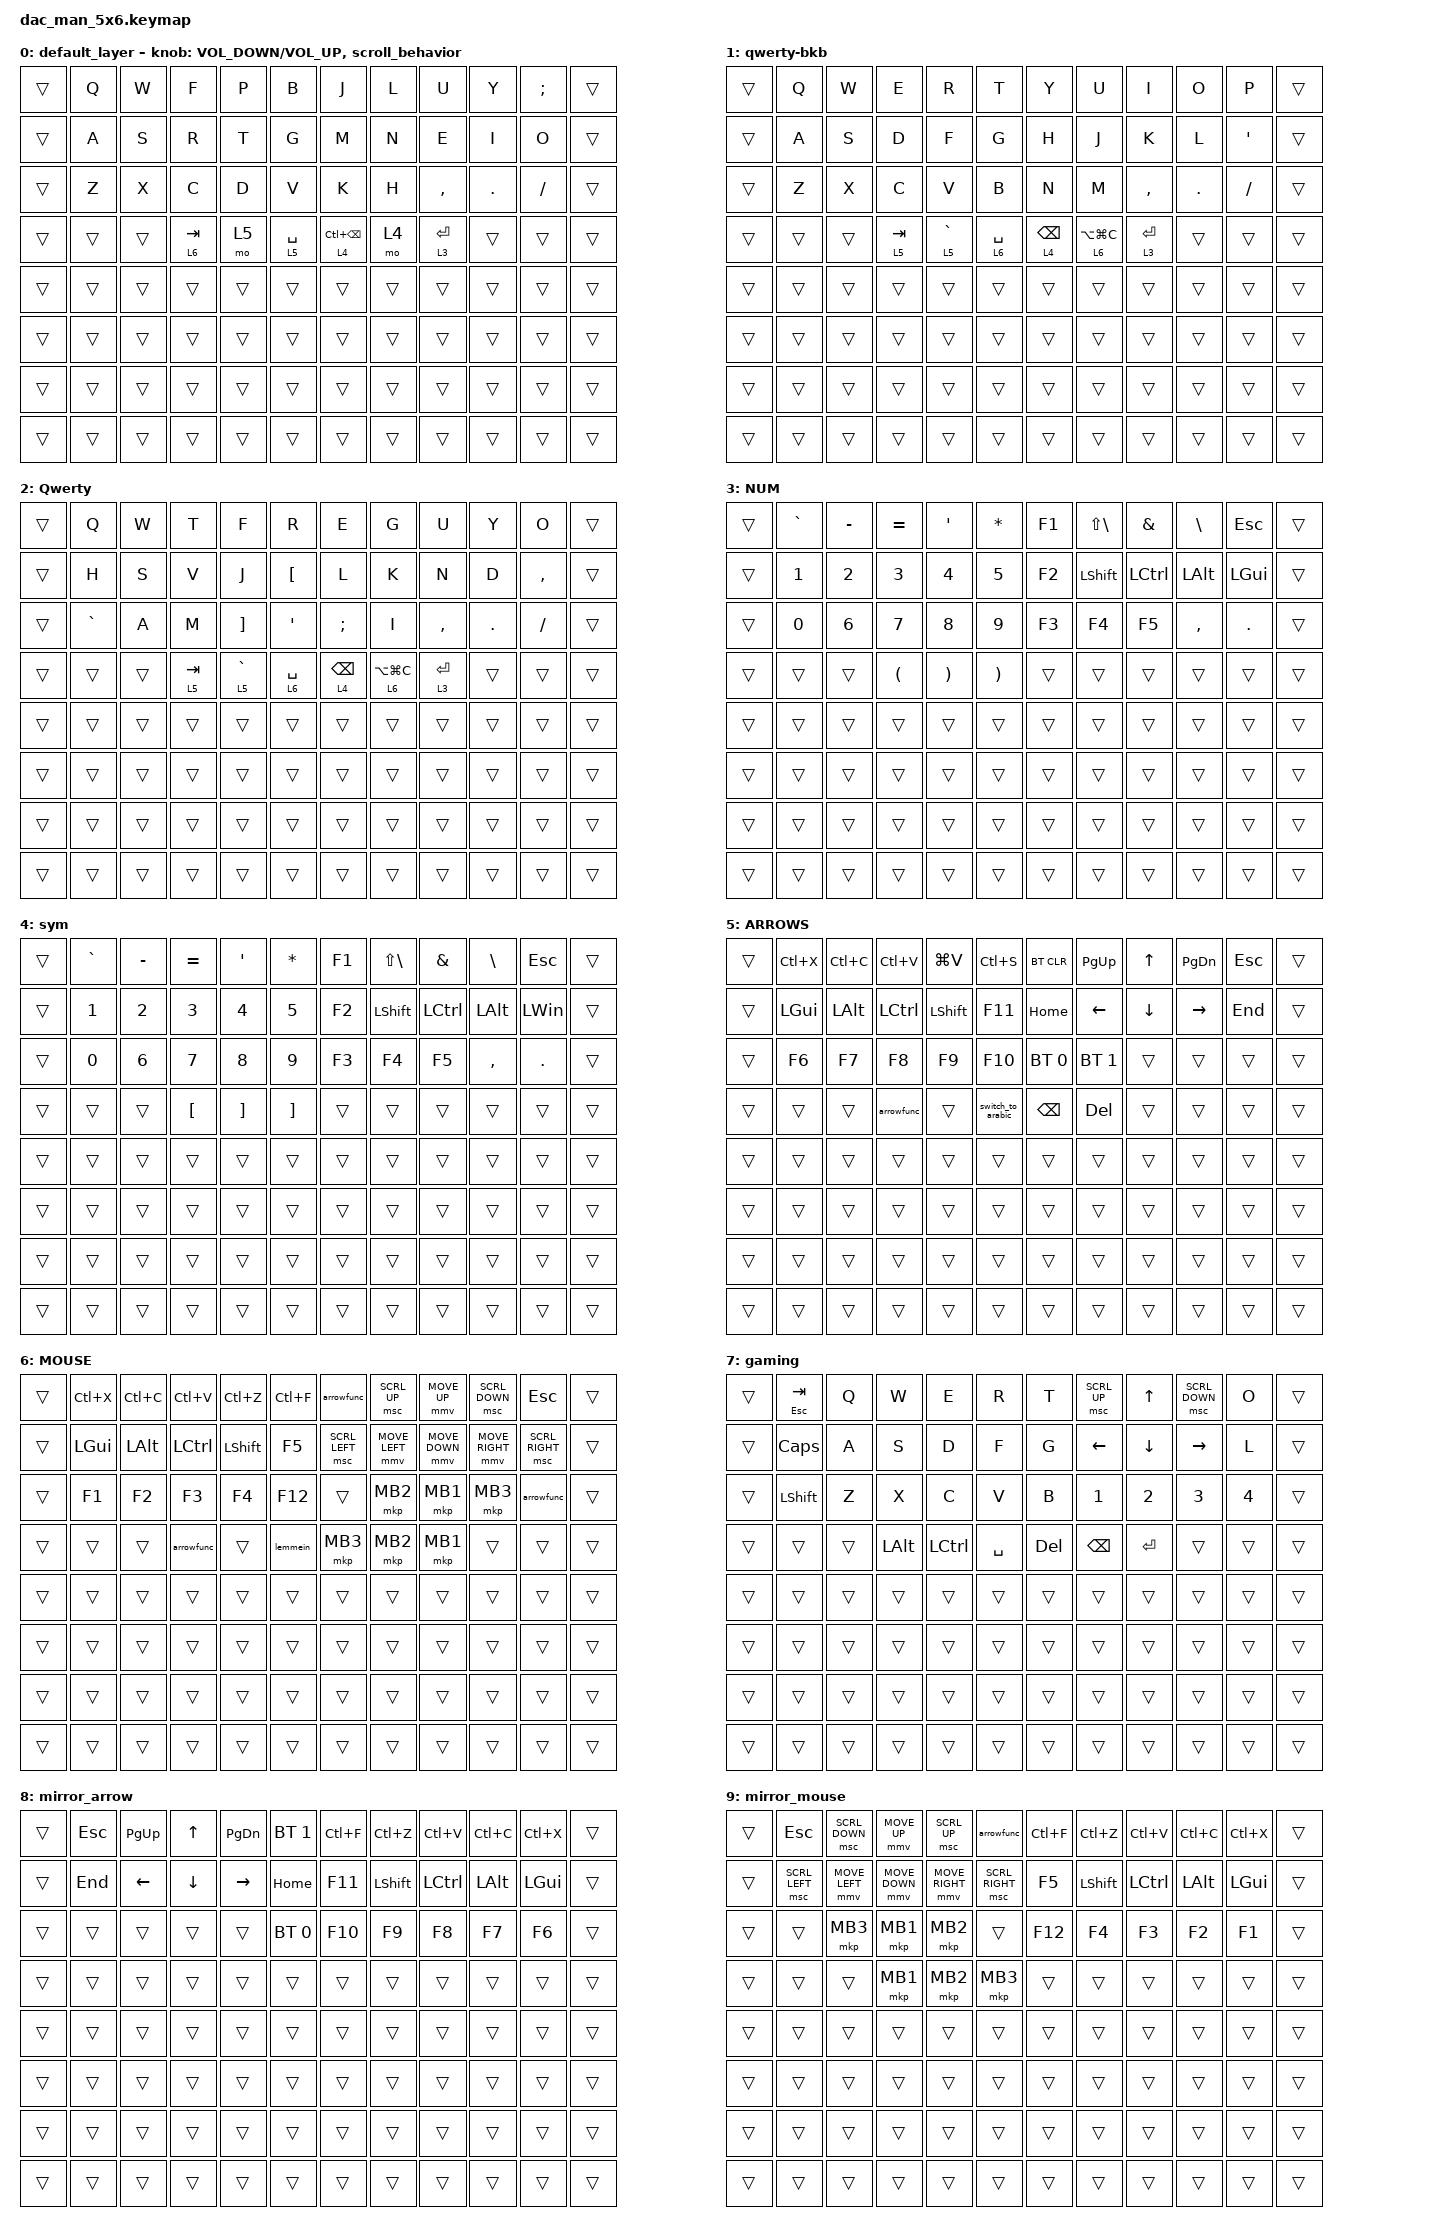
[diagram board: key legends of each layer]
#include <behaviors.dtsi>
#include <dt-bindings/zmk/bt.h>
#include <dt-bindings/zmk/keys.h>
#include <dt-bindings/zmk/pointing.h>

/ {
    behaviors {
        scroll_behavior: scroll_behavior {
            compatible = "zmk,behavior-sensor-rotate";
            label = "SCROLL_BEHAVIOR";
            #sensor-binding-cells = <0>;
            bindings = <&msc SCRL_DOWN>, <&msc SCRL_UP>;

            tap-ms = <1>;
        };
    };
    
    combos {
        compatible = "zmk,combos";

        gaming {
            bindings = <&tog 7>;
            key-positions = <33 32>;
        };

        hamza {
            bindings = <&kp X>;
            key-positions = <12 17>;
        };

        ya2 {
            bindings = <&kp Z>;
            key-positions = <11 18>;
        };

        wa2 {
            bindings = <&kp C>;
            key-positions = <10 19>;
        };

        rhotmouse {
            bindings = <&mo 6>;
            key-positions = <34 33>;
        };

        lhotarrow {
            bindings = <&mo 8>;
            key-positions = <32 31>;
        };

        lshift {
            bindings = <&kp LEFT_SHIFT>;
            key-positions = <35 16>;
        };

        rshift {
            bindings = <&kp LEFT_SHIFT>;
            key-positions = <13 30>;
        };

        lctrl {
            bindings = <&kp LCTRL>;
            key-positions = <35 17>;
        };

        rctrl {
            bindings = <&kp LCTRL>;
            key-positions = <12 30>;
        };

        lalt {
            bindings = <&kp LEFT_ALT>;
            key-positions = <35 18>;
        };

        ralt {
            bindings = <&kp LEFT_ALT>;
            key-positions = <11 30>;
        };

        lgui {
            bindings = <&kp LEFT_GUI>;
            key-positions = <35 19>;
        };

        rgui {
            bindings = <&kp LEFT_GUI>;
            key-positions = <10 30>;
        };

        quickD {
            bindings = <&kp D>;
            key-positions = <20 29>;
        };

        quickV {
            bindings = <&kp V>;
            key-positions = <21 28>;
        };
    };

    macros {
        arrowfunc: new_macro {
            compatible = "zmk,behavior-macro";
            #binding-cells = <0>;
            bindings = <&kp LPAR &kp RPAR &kp EQUAL &kp GT &kp LEFT_BRACE>;
            label = "NEW_MACRO";
        };

        lemmein: lemmein {
            compatible = "zmk,behavior-macro";
            #binding-cells = <0>;
            bindings = <&kp L &kp D &kp HASH &kp H &kp E &kp L &kp L &kp O &kp W &kp O &kp R &kp L &kp D &kp AT_SIGN &kp N2 &kp N9 &kp ENTER>;
            label = "LEMMEIN";
        };

        switch_to_arabic: switch_to_arabic {
            compatible = "zmk,behavior-macro";
            #binding-cells = <0>;
            bindings = <&kp LG(SPACE) &tog 2>;
            label = "SWITCH_TO_ARABIC";
        };

        switch_to_english: switch_to_english {
            compatible = "zmk,behavior-macro";
            #binding-cells = <0>;
            bindings = <&kp LG(SPACE) &tog 0>;
            label = "SWITCH_TO_ENGLISH";
        };
    };

    keymap {
        compatible = "zmk,keymap";
        label = "corne-unified";


  

        default_layer {
            bindings = <
                &trans &kp Q  &kp W  &kp F      &kp P      &kp B        &kp J                &kp L        &kp U        &kp Y       &kp SEMI   &trans
                &trans &kp A  &kp S  &kp R      &kp T      &kp G        &kp M                &kp N        &kp E        &kp I       &kp O      &trans
                &trans &kp Z  &kp X  &kp C      &kp D      &kp V        &kp K                &kp H        &kp COMMA    &kp PERIOD  &kp SLASH  &trans
                &trans &trans &trans &lt 6 TAB  &mo 5      &lt 5 SPACE  &lt 4 LC(BACKSPACE)  &mo 4        &lt 3 ENTER  &trans      &trans     &trans
                &trans &trans &trans &trans     &trans     &trans       &trans               &trans       &trans       &trans      &trans     &trans
                &trans &trans &trans &trans     &trans     &trans       &trans               &trans       &trans       &trans      &trans     &trans
                &trans &trans &trans &trans     &trans     &trans       &trans               &trans       &trans       &trans      &trans     &trans
                &trans &trans &trans &trans     &trans     &trans       &trans               &trans       &trans       &trans      &trans     &trans
            >;
            sensor-bindings =
                <&inc_dec_kp C_VOLUME_DOWN C_VOLUME_UP>,
                <&scroll_behavior>;
        };

        qwerty-bkb {
            bindings = <
                &trans &kp Q  &kp W  &kp E      &kp R        &kp T                     &kp Y            &kp U            &kp I        &kp O    &kp P    &trans
                &trans &kp A  &kp S  &kp D      &kp F        &kp G                     &kp H            &kp J            &kp K        &kp L    &kp SQT  &trans
                &trans &kp Z  &kp X  &kp C      &kp V        &kp B                     &kp N            &kp M            &kp COMMA    &kp DOT  &kp FSLH &trans
                &trans &trans &trans &lt 5 TAB  &lt 5 GRAVE  &lt 6 SPACE               &lt 4 BACKSPACE  &lt 6 LA(LG(C))  &lt 3 ENTER  &trans   &trans   &trans
                &trans &trans &trans &trans     &trans       &trans                    &trans           &trans           &trans       &trans   &trans   &trans
                &trans &trans &trans &trans     &trans       &trans                    &trans           &trans           &trans       &trans   &trans   &trans
                &trans &trans &trans &trans     &trans       &trans                    &trans           &trans           &trans       &trans   &trans   &trans
                &trans &trans &trans &trans     &trans       &trans                    &trans           &trans           &trans       &trans   &trans   &trans
            >;
        };

        Qwerty {
            bindings = <
                &trans &kp Q      &kp W  &kp T       &kp F              &kp R                 &kp E            &kp G            &kp U        &kp Y       &kp O     &trans 
                &trans &kp H      &kp S  &kp V       &kp J              &kp LEFT_BRACKET      &kp L            &kp K            &kp N        &kp D       &kp COMMA &trans 
                &trans &kp GRAVE  &kp A  &kp M       &kp RIGHT_BRACKET  &kp SQT               &kp SEMI         &kp I            &kp COMMA    &kp PERIOD  &kp SLASH &trans 
                &trans &trans     &trans &lt 5 TAB   &lt 5 GRAVE        &lt 6 SPACE           &lt 4 BACKSPACE  &lt 6 LA(LG(C))  &lt 3 ENTER  &trans      &trans    &trans
                &trans &trans     &trans &trans      &trans             &trans                &trans           &trans           &trans       &trans      &trans    &trans
                &trans &trans     &trans &trans      &trans             &trans                &trans           &trans           &trans       &trans      &trans    &trans
                &trans &trans     &trans &trans      &trans             &trans                &trans           &trans           &trans       &trans      &trans    &trans
                &trans &trans     &trans &trans      &trans             &trans                &trans           &trans           &trans       &trans      &trans    &trans
            >;
        };

        NUM {
            bindings = <
                &trans &kp GRAVE  &kp MINUS  &kp EQUAL             &kp APOS               &kp ASTRK                    &kp F1  &kp LS(BACKSLASH)  &kp AMPERSAND  &kp BSLH      &kp ESC      &trans
                &trans &kp N1     &kp N2     &kp N3                &kp N4                 &kp N5                       &kp F2  &kp LEFT_SHIFT     &kp LCTRL      &kp LEFT_ALT  &kp LEFT_GUI &trans
                &trans &kp N0     &kp N6     &kp N7                &kp N8                 &kp N9                       &kp F3  &kp F4             &kp F5         &kp COMMA     &kp PERIOD   &trans
                &trans &trans     &trans     &kp LEFT_PARENTHESIS  &kp RIGHT_PARENTHESIS  &kp RIGHT_PARENTHESIS        &trans  &trans             &trans         &trans        &trans       &trans
                &trans &trans     &trans     &trans               &trans                &trans                         &trans  &trans             &trans         &trans        &trans       &trans
                &trans &trans     &trans     &trans               &trans                &trans                         &trans  &trans             &trans         &trans        &trans       &trans
                &trans &trans     &trans     &trans               &trans                &trans                         &trans  &trans             &trans         &trans        &trans       &trans
                &trans &trans     &trans     &trans               &trans                &trans                         &trans  &trans             &trans         &trans        &trans       &trans
            >;
        };

        symbol {
            label = "sym";
            bindings = <
                &trans &kp GRAVE  &kp MINUS  &kp EQUAL         &kp APOS           &kp ASTRK                &kp F1  &kp LS(BACKSLASH)  &kp AMPERSAND  &kp BSLH      &kp ESC       &trans
                &trans &kp N1     &kp N2     &kp N3            &kp N4             &kp N5                   &kp F2  &kp LEFT_SHIFT     &kp LCTRL      &kp LEFT_ALT  &kp LEFT_WIN  &trans
                &trans &kp N0     &kp N6     &kp N7            &kp N8             &kp N9                   &kp F3  &kp F4             &kp F5         &kp COMMA     &kp DOT       &trans
                &trans &trans     &trans     &kp LEFT_BRACKET  &kp RIGHT_BRACKET  &kp RIGHT_BRACKET        &trans  &trans             &trans         &trans        &trans        &trans
                &trans &trans     &trans     &trans            &trans             &trans                   &trans  &trans             &trans         &trans        &trans        &trans
                &trans &trans     &trans     &trans            &trans             &trans                   &trans  &trans             &trans         &trans        &trans        &trans
                &trans &trans     &trans     &trans            &trans             &trans                   &trans  &trans             &trans         &trans        &trans        &trans
                &trans &trans     &trans     &trans            &trans             &trans                   &trans  &trans             &trans         &trans        &trans        &trans
            >;
        };

        ARROWS {
            bindings = <
                &trans  &kp LC(X)     &kp LC(C)     &kp LC(V)    &kp LG(V)       &kp LC(S)                     &bt BT_CLR     &kp PG_UP     &kp UP    &kp PG_DN  &kp ESC  &trans
                &trans  &kp LEFT_GUI  &kp LEFT_ALT  &kp LCTRL    &kp LEFT_SHIFT  &kp F11                       &kp HOME       &kp LEFT      &kp DOWN  &kp RIGHT  &kp END  &trans
                &trans  &kp F6        &kp F7        &kp F8       &kp F9          &kp F10                       &bt BT_SEL 0   &bt BT_SEL 1  &trans    &trans     &trans   &trans
                &trans  &trans        &trans        &arrowfunc   &trans          &switch_to_arabic             &kp BACKSPACE  &kp DELETE    &trans    &trans     &trans   &trans
                &trans  &trans        &trans        &trans       &trans          &trans                        &trans         &trans        &trans    &trans     &trans   &trans
                &trans  &trans        &trans        &trans       &trans          &trans                        &trans         &trans        &trans    &trans     &trans   &trans
                &trans  &trans        &trans        &trans       &trans          &trans                        &trans         &trans        &trans    &trans     &trans   &trans
                &trans  &trans        &trans        &trans       &trans          &trans                        &trans         &trans        &trans    &trans     &trans   &trans
            >;
        };

        MOUSE {
            bindings = <
                &trans &kp LC(X)     &kp LC(C)     &kp LC(V)   &kp LC(Z)       &kp LC(F)            &arrowfunc      &msc SCRL_UP    &mmv MOVE_UP    &msc SCRL_DOWN   &kp ESCAPE      &trans
                &trans &kp LEFT_GUI  &kp LEFT_ALT  &kp LCTRL   &kp LEFT_SHIFT  &kp F5               &msc SCRL_LEFT  &mmv MOVE_LEFT  &mmv MOVE_DOWN  &mmv MOVE_RIGHT  &msc SCRL_RIGHT &trans
                &trans &kp F1        &kp F2        &kp F3      &kp F4          &kp F12              &trans          &mkp MB2        &mkp MB1        &mkp MB3         &arrowfunc      &trans
                &trans &trans        &trans        &arrowfunc  &trans          &lemmein             &mkp MB3        &mkp MB2        &mkp MB1        &trans           &trans          &trans
                &trans &trans        &trans        &trans      &trans          &trans               &trans          &trans          &trans          &trans           &trans          &trans
                &trans &trans        &trans        &trans      &trans          &trans               &trans          &trans          &trans          &trans           &trans          &trans
                &trans &trans        &trans        &trans      &trans          &trans               &trans          &trans          &trans          &trans           &trans          &trans
                &trans &trans        &trans        &trans      &trans          &trans               &trans          &trans          &trans          &trans           &trans          &trans
            >;
        };

        gaming {
            bindings = <
                &trans  &mt ESC TAB     &kp Q  &kp W         &kp E      &kp R                 &kp T    &msc SCRL_UP   &kp UP     &msc SCRL_DOWN  &kp O   &trans
                &trans  &kp CAPS        &kp A  &kp S         &kp D      &kp F                 &kp G    &kp LEFT       &kp DOWN   &kp RIGHT       &kp L   &trans
                &trans  &kp LEFT_SHIFT  &kp Z  &kp X         &kp C      &kp V                 &kp B    &kp N1         &kp N2     &kp N3          &kp N4  &trans
                &trans  &trans          &trans &kp LEFT_ALT  &kp LCTRL  &kp SPACE             &kp DEL  &kp BACKSPACE  &kp ENTER  &trans          &trans  &trans
                &trans  &trans          &trans &trans        &trans     &trans                &trans   &trans         &trans     &trans          &trans  &trans
                &trans  &trans          &trans &trans        &trans     &trans                &trans   &trans         &trans     &trans          &trans  &trans
                &trans  &trans          &trans &trans        &trans     &trans                &trans   &trans         &trans     &trans          &trans  &trans
                &trans  &trans          &trans &trans        &trans     &trans                &trans   &trans         &trans     &trans          &trans  &trans
            >;
        };

        mirror_arrow {
            bindings = <
                &trans  &kp ESCAPE  &kp PG_UP  &kp UP    &kp PG_DN  &bt BT_SEL 1          &kp LC(F)  &kp LC(Z)       &kp LC(V)  &kp LC(C)     &kp LC(X)     &trans
                &trans  &kp END     &kp LEFT   &kp DOWN  &kp RIGHT  &kp HOME              &kp F11    &kp LEFT_SHIFT  &kp LCTRL  &kp LEFT_ALT  &kp LEFT_GUI  &trans
                &trans  &trans      &trans     &trans    &trans     &bt BT_SEL 0          &kp F10    &kp F9          &kp F8     &kp F7        &kp F6        &trans
                &trans  &trans      &trans     &trans    &trans     &trans                &trans     &trans          &trans     &trans        &trans        &trans
                &trans  &trans      &trans     &trans    &trans     &trans                &trans     &trans          &trans     &trans        &trans        &trans
                &trans  &trans      &trans     &trans    &trans     &trans                &trans     &trans          &trans     &trans        &trans        &trans
                &trans  &trans      &trans     &trans    &trans     &trans                &trans     &trans          &trans     &trans        &trans        &trans
                &trans  &trans      &trans     &trans    &trans     &trans                &trans     &trans          &trans     &trans        &trans        &trans
            >;
        };

        mirror_mouse {
            bindings = <
                &trans  &kp ESCAPE      &msc SCRL_DOWN  &mmv MOVE_UP    &msc SCRL_UP     &arrowfunc                 &kp LC(F)  &kp LC(Z)       &kp LC(V)  &kp LC(C)     &kp LC(X)    &trans
                &trans  &msc SCRL_LEFT  &mmv MOVE_LEFT  &mmv MOVE_DOWN  &mmv MOVE_RIGHT  &msc SCRL_RIGHT            &kp F5     &kp LEFT_SHIFT  &kp LCTRL  &kp LEFT_ALT  &kp LEFT_GUI &trans
                &trans  &trans          &mkp MB3        &mkp MB1        &mkp MB2         &trans                     &kp F12    &kp F4          &kp F3     &kp F2        &kp F1       &trans
                &trans  &trans          &trans          &mkp MB1        &mkp MB2         &mkp MB3                   &trans     &trans          &trans     &trans        &trans       &trans
                &trans  &trans          &trans          &trans          &trans           &trans                     &trans     &trans          &trans     &trans        &trans       &trans
                &trans  &trans          &trans          &trans          &trans           &trans                     &trans     &trans          &trans     &trans        &trans       &trans
                &trans  &trans          &trans          &trans          &trans           &trans                     &trans     &trans          &trans     &trans        &trans       &trans
                &trans  &trans          &trans          &trans          &trans           &trans                     &trans     &trans          &trans     &trans        &trans       &trans
            >;
        };
    };
};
